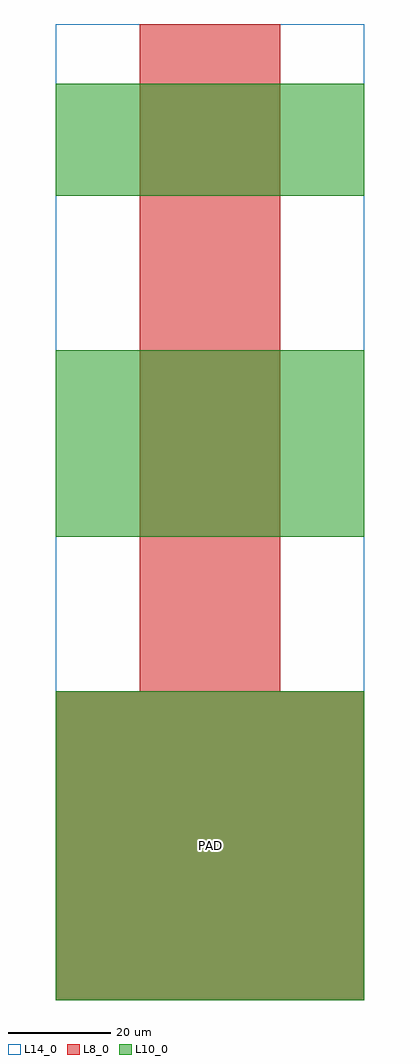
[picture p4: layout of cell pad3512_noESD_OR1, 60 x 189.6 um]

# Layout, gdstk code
import gdstk
lib = gdstk.Library(unit=1e-6, precision=1e-09)
def R(c, l, rs):  # rectangles x0, y0, x1, y1
    for r in rs: c.add(gdstk.rectangle(r[:2], r[2:], *l))
L8_0 = (8, 0)
L10_0 = (10, 0)
L14_0 = (14, 0)

pad60_v6_or1 = lib.new_cell('PAD60_V6_OR1')
R(pad60_v6_or1, L8_0, [(0,0,60,60)])
R(pad60_v6_or1, L10_0, [(0,0,60,60)])

pad3512_noesd_or1 = lib.new_cell('pad3512_noESD_OR1')
R(pad3512_noesd_or1, L8_0, [(16.4,60,43.6,189.6)])
R(pad3512_noesd_or1, L10_0, [(0,90,60,126.2), (0,156.2,60,178)])
R(pad3512_noesd_or1, L14_0, [(0,0,60,189.6)])
pad3512_noesd_or1.add(gdstk.Reference(pad60_v6_or1, (0,0)))
pad3512_noesd_or1.add(gdstk.Label('PAD', (30,30.1), layer=13, texttype=0))

lib.write_gds('pad3512_noESD_OR1.gds')
